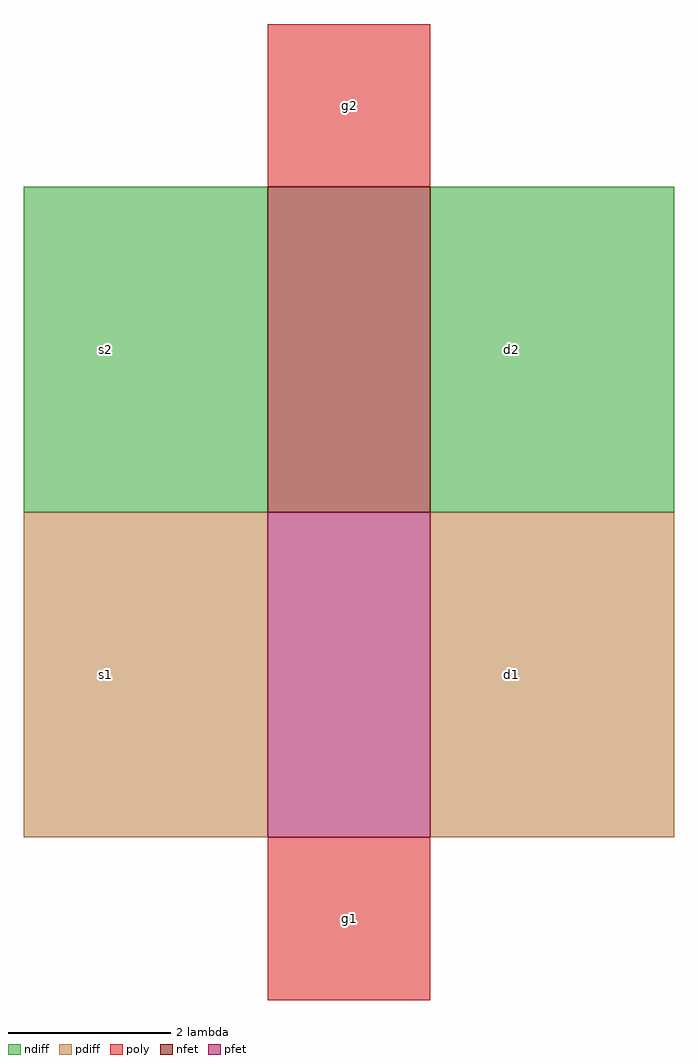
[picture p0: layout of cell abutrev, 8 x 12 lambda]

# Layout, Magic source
magic
tech exttest
<< pfet >>
rect 0 0 2 4
<< pdiff >>
rect -3 0 0 4
rect 2 0 5 4
<< nfet >>
rect 0 4 2 8
<< ndiff >>
rect -3 4 0 8
rect 2 4 5 8
<< poly >>
rect 0 -2 2 0
rect 0 8 2 10
<< labels >>
rlabel pdiff -2 2 -2 2 0 s1
rlabel pdiff 3 2 3 2 0 d1
rlabel ndiff -2 6 -2 6 0 s2
rlabel ndiff 3 6 3 6 0 d2
rlabel poly 1 -1 1 -1 0 g1
rlabel poly 1 9 1 9 0 g2
<< end >>
